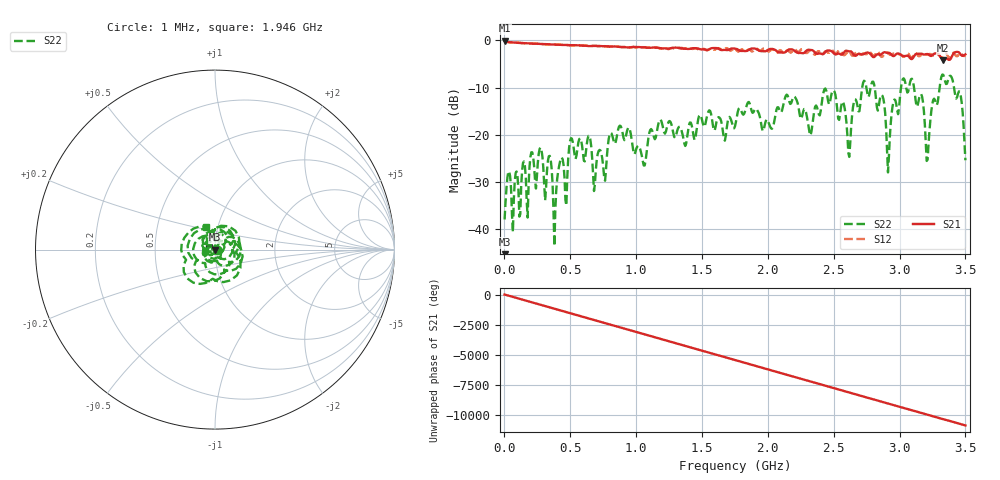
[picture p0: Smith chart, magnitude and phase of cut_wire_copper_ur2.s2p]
# GHZ S RI R 50.000000000000
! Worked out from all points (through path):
!   501 points, 1 MHz to 3.5 GHz, reference 50 ohm
!   highest |S21| = -0.08 dB at 1 MHz (marker M1); lowest = -4.2 dB at 3.332 GHz (marker M2)
!   group delay of S21, straight-line fit = 8.66 ns
!   lowest |S11| = - dB at 1 MHz (marker M3), VSWR 1.00, Z = 50 + j0 ohm
!   |S11| at or under -10 dB: start of sweep to end of sweep
!   |S22| runs from -43.6 to -7.2 dB; largest |S21 - S12| = 0.1
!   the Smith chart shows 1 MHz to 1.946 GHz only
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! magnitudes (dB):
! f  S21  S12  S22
! 1 MHz  -0.1  0.0  -37.9
! 273.9 MHz  -0.7  -0.8  -22.7
! 343.9 MHz  -0.9  -0.8  -24.5
! 378.9 MHz  -0.9  -0.9  -43.6
! 427.9 MHz  -0.9  -1.0  -25.1
! 588.8 MHz  -1.1  -1.1  -22.2
! 686.8 MHz  -1.2  -1.2  -30.4
! 875.8 MHz  -1.4  -1.4  -18.1
! 1.058 GHz  -1.5  -1.4  -26.5
! 1.17 GHz  -1.6  -1.6  -17.6
! 1.75 GHz  -1.7  -1.8  -18.2
! 2.338 GHz  -2.1  -2.5  -17.8
! 2.499 GHz  -2.7  -2.4  -10.6
! 2.618 GHz  -2.3  -2.4  -24.7
! 2.793 GHz  -3.4  -3.1  -8.7
! 2.919 GHz  -2.6  -2.9  -24.6
! 3.031 GHz  -3.3  -3.5  -8.0
! 3.164 GHz  -2.8  -3.1  -11.4
! 3.213 GHz  -2.9  -3.0  -25.3
! 3.332 GHz  -4.2  -3.5  -7.3
! 3.458 GHz  -2.7  -2.7  -10.9
! 3.5 GHz  -2.9  -3.2  -25.4
